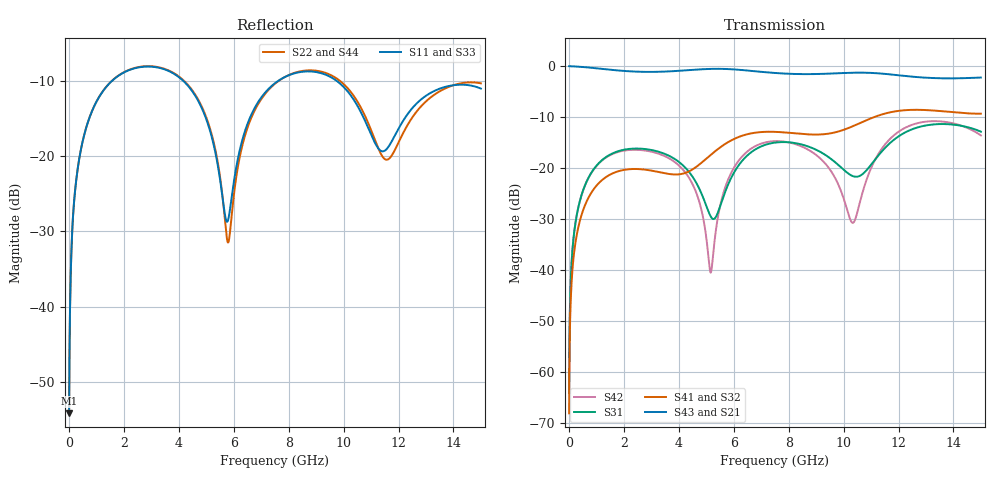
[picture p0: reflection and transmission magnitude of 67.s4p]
! Created with skrf 1.8.0 (http://scikit-rf.org).
# GHz S RI R 50.0
!freq ReS11 ImS11 ReS12 ImS12 ReS13 ImS13
! ReS14 ImS14
! ReS21 ImS21 ReS22 ImS22 ReS23 ImS23
! ReS24 ImS24
! ReS31 ImS31 ReS32 ImS32 ReS33 ImS33
! ReS34 ImS34
! ReS41 ImS41 ReS42 ImS42 ReS43 ImS43
! ReS44 ImS44
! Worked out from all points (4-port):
!   2499 points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, 5 MHz to 15 GHz, reference 50 ohm
!   strongest paths, dB at 5 MHz, 3.476 GHz, 7.19 GHz, 11.1 GHz, 15 GHz:
!     S43: 0.0, -1.1, -1.2, -1.4, -2.2
!     S21: 0.0, -1.1, -1.2, -1.4, -2.2
!     S41: -68.1, -21.0, -12.9, -10.0, -9.3
!     S32: -68.1, -21.0, -12.9, -10.0, -9.4
!     S31: -64.2, -17.2, -15.4, -18.7, -12.9
!     S42: -64.2, -17.6, -14.9, -18.9, -13.6
!   lowest |S11| = -54.2 dB at 5 MHz (marker M1), VSWR 1.00, Z = 50.2 + j0.119 ohm
!   |S11| at or under -10 dB: start of sweep to 1.567 GHz; 4.162 GHz to 7.619 GHz (3.456 GHz wide, 58.7 % of centre); 9.749 GHz to end of sweep
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0.005  0.00156 0.00118  0.9984 -0.00303  7.79e-05 0.000614  -7.56e-05 -0.000385
       0.9984 -0.00303  0.00156 0.00118  -7.56e-05 -0.000385  7.78e-05 0.000614
       7.79e-05 0.000614  -7.56e-05 -0.000385  0.00156 0.00118  0.9984 -0.00303
       -7.56e-05 -0.000385  7.78e-05 0.000614  0.9984 -0.00303  0.00156 0.00118
0.3126303  0.022 0.0783  0.97 -0.1891  0.0102 0.0366  -0.00831 -0.0228
           0.97 -0.1891  0.0221 0.0783  -0.00831 -0.0228  0.00974 0.0367
           0.0102 0.0366  -0.00831 -0.0228  0.022 0.0783  0.97 -0.1891
           -0.00831 -0.0228  0.00974 0.0367  0.97 -0.1891  0.0221 0.0783
1.469362  0.2377 0.1891  0.6154 -0.6879  0.1173 0.0652  -0.0837 -0.0168
          0.6154 -0.6879  0.2395 0.1882  -0.0837 -0.0168  0.1114 0.0719
          0.1173 0.0652  -0.0837 -0.0168  0.2377 0.1891  0.6155 -0.6879
          -0.0837 -0.0168  0.1114 0.0719  0.6155 -0.6879  0.2395 0.1882
5.589829  0.0385 -0.037  -0.9264 -0.1541  -0.0264 0.0416  -0.025 0.1636
          -0.9264 -0.1541  0.029 -0.0459  -0.0246 0.1635  0.0121 0.0514
          -0.0264 0.0416  -0.0246 0.1635  0.0404 -0.0363  -0.9264 -0.1541
          -0.025 0.1636  0.0121 0.0514  -0.9264 -0.1541  0.0269 -0.0457
8.997499  0.3598 -0.04  0.0339 0.8349  0.1108 -0.1029  0.2038 -0.0619
          0.0339 0.8349  0.3669 -0.0451  0.2033 -0.0616  0.1147 -0.0703
          0.1108 -0.1029  0.2033 -0.0616  0.359 -0.043  0.0333 0.8353
          0.2038 -0.0619  0.1147 -0.0703  0.0333 0.8353  0.3661 -0.0414
11.62359  0.1139 0.014  0.8292 0.0796  -0.0259 0.1672  0.0243 -0.3477
          0.8292 0.0796  0.0949 -0.00858  0.0237 -0.3475  0.0238 0.1833
          -0.0259 0.1672  0.0237 -0.3475  0.1145 0.0155  0.8292 0.0803
          0.0243 -0.3477  0.0238 0.1833  0.8292 0.0803  0.0938 -0.00638
15  0.2676 -0.0861  -0.013 -0.7725  0.1769 -0.1429  -0.3308 0.0845
    -0.013 -0.7725  0.293 -0.0829  -0.3297 0.0839  0.1931 -0.0796
    0.1769 -0.1429  -0.3297 0.0839  0.2682 -0.0903  -0.0104 -0.7725
    -0.3308 0.0845  0.1931 -0.0796  -0.0104 -0.7725  0.2936 -0.0769
